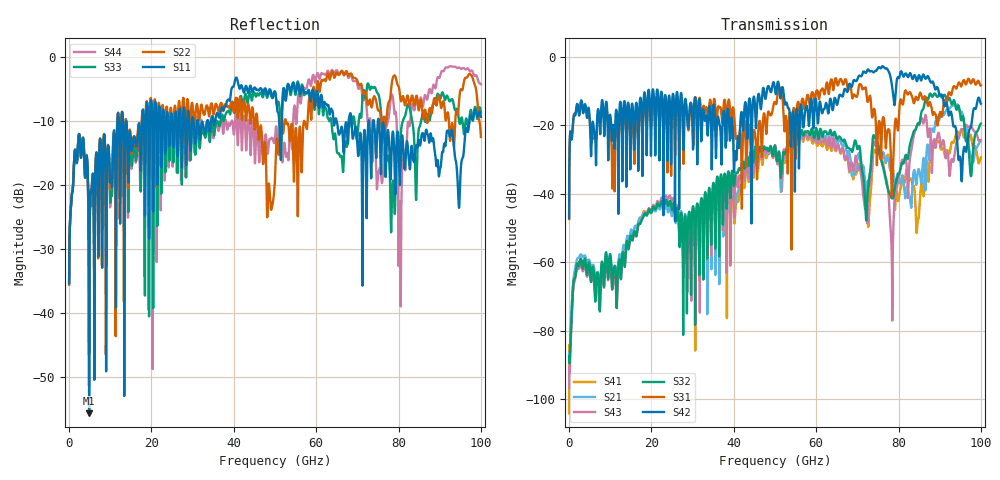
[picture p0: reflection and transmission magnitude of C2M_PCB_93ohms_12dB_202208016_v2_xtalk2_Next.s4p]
! Info: Touchstone file created by Circ.  Input file=Intel_C2M_200G_2p5in_202208016_staggered.circ
# Hz S RI R 50
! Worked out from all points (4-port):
!   10000 points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, 10 MHz to 100 GHz, reference 50 ohm
!   strongest paths, dB at 10 MHz, 25.01 GHz, 50.01 GHz, 75.01 GHz, 100 GHz:
!     S42: -47.0, -13.7, -9.6, -3.2, -13.7
!     S31: -47.3, -16.6, -13.2, -21.6, -8.3
!     S32: -87.4, -44.8, -25.9, -25.9, -19.5
!     S43: -95.8, -42.0, -25.8, -26.2, -24.3
!     S21: -88.0, -46.5, -26.2, -25.7, -24.5
!     S41: -104.1, -43.8, -26.4, -26.9, -29.4
!   lowest |S11| = -55.7 dB at 4.87 GHz (marker M1), VSWR 1.00, Z = 50 - j0.156 ohm
!   |S11| at or under -10 dB: start of sweep to 11.74 GHz; 68.58 GHz to 72.7 GHz (4.124 GHz wide, 5.84 % of centre); 75.25 GHz to 97.2 GHz (21.95 GHz wide, 25.5 % of centre)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
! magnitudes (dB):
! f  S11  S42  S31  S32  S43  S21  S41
! 10 MHz  -35.3  -47.0  -47.3  -87.4  -95.8  -88.0  -104.1
! 4.87 GHz  -55.7  -15.8  -16.7  -60.0  -62.6  -59.2  -61.3
! 57.42 GHz  -5.5  -15.4  -14.2  -21.7  -22.1  -22.0  -22.5
! 74.52 GHz  -15.4  -4.1  -20.4  -23.9  -26.1  -24.9  -28.0
! 78.45 GHz  -12.5  -8.7  -38.0  -41.3  -68.5  -33.0  -31.7
! 85.24 GHz  -13.8  -6.1  -10.4  -18.6  -19.0  -34.4  -40.9
! 100 GHz  -9.3  -13.7  -8.3  -19.5  -24.3  -24.5  -29.4
